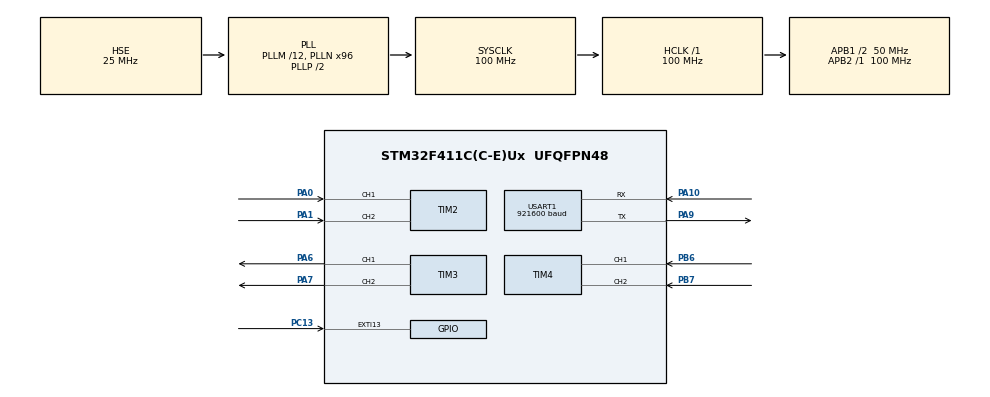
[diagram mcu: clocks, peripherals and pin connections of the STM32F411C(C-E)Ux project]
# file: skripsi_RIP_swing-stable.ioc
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Dma.Request0=USART1_TX
Dma.USART1_TX.0.Direction=DMA_MEMORY_TO_PERIPH
Dma.USART1_TX.0.FIFOMode=DMA_FIFOMODE_DISABLE
Dma.USART1_TX.0.Instance=DMA2_Stream7
Dma.USART1_TX.0.MemDataAlignment=DMA_MDATAALIGN_BYTE
Dma.USART1_TX.0.MemInc=DMA_MINC_ENABLE
Dma.USART1_TX.0.Mode=DMA_NORMAL
Dma.USART1_TX.0.PeriphDataAlignment=DMA_PDATAALIGN_BYTE
Dma.USART1_TX.0.PeriphInc=DMA_PINC_DISABLE
Dma.USART1_TX.0.Priority=DMA_PRIORITY_LOW
Mcu.Family=STM32F4
Mcu.Name=STM32F411C(C-E)Ux
Mcu.Package=UFQFPN48
NVIC.DMA2_Stream7_IRQn=true\:0\:0\:false\:false\:true\:false\:true\:true
NVIC.EXTI15_10_IRQn=true\:0\:0\:false\:false\:true\:true\:true\:true
NVIC.PriorityGroup=NVIC_PRIORITYGROUP_4
NVIC.TIM2_IRQn=true\:0\:0\:false\:false\:true\:true\:true\:true
NVIC.TIM4_IRQn=true\:0\:0\:false\:false\:true\:true\:true\:true
NVIC.USART1_IRQn=true\:0\:0\:false\:false\:true\:true\:true\:true
PA0-WKUP.Signal=S_TIM2_CH1_ETR
PA1.Signal=S_TIM2_CH2
PA10.Mode=Asynchronous
PA10.Signal=USART1_RX
PA6.Signal=S_TIM3_CH1
PA7.Signal=S_TIM3_CH2
PA9.Mode=Asynchronous
PA9.Signal=USART1_TX
PB6.Signal=S_TIM4_CH1
PB7.Signal=S_TIM4_CH2
PC13-ANTI_TAMP.GPIO_ModeDefaultEXTI=GPIO_MODE_IT_FALLING
PC13-ANTI_TAMP.GPIO_PuPd=GPIO_PULLUP
PC13-ANTI_TAMP.Signal=GPXTI13
PH0\ -\ OSC_IN.Mode=HSE-External-Oscillator
PH0\ -\ OSC_IN.Signal=RCC_OSC_IN
PH1\ -\ OSC_OUT.Mode=HSE-External-Oscillator
PH1\ -\ OSC_OUT.Signal=RCC_OSC_OUT
ProjectManager.HeapSize=0x200
ProjectManager.StackSize=0x400
ProjectManager.TargetToolchain=STM32CubeIDE
RCC.48MHZClocksFreq_Value=50000000
RCC.AHBFreq_Value=100000000
RCC.APB1CLKDivider=RCC_HCLK_DIV2
RCC.APB1Freq_Value=50000000
RCC.APB1TimFreq_Value=100000000
RCC.APB2Freq_Value=100000000
RCC.APB2TimFreq_Value=100000000
RCC.CortexFreq_Value=100000000
RCC.HCLKFreq_Value=100000000
RCC.HSE_VALUE=25000000
RCC.HSI_VALUE=16000000
RCC.LSE_VALUE=32768
RCC.PLLM=12
RCC.PLLN=96
RCC.PLLSourceVirtual=RCC_PLLSOURCE_HSE
RCC.SYSCLKFreq_VALUE=100000000
RCC.SYSCLKSource=RCC_SYSCLKSOURCE_PLLCLK
RCC.VCOOutputFreq_Value=200000000
SH.S_TIM2_CH1_ETR.0=TIM2_CH1,Encoder_Interface
SH.S_TIM2_CH2.0=TIM2_CH2,Encoder_Interface
SH.S_TIM3_CH1.0=TIM3_CH1,PWM Generation1 CH1
SH.S_TIM3_CH2.0=TIM3_CH2,PWM Generation2 CH2
SH.S_TIM4_CH1.0=TIM4_CH1,Encoder_Interface
SH.S_TIM4_CH2.0=TIM4_CH2,Encoder_Interface
TIM2.EncoderMode=TIM_ENCODERMODE_TI12
TIM2.IC1Filter=10
TIM2.IC2Filter=10
TIM3.Channel-PWM\ Generation1\ CH1=TIM_CHANNEL_1
TIM3.Channel-PWM\ Generation2\ CH2=TIM_CHANNEL_2
TIM4.EncoderMode=TIM_ENCODERMODE_TI12
TIM4.IC1Filter=10
TIM4.IC2Filter=10
USART1.BaudRate=921600
USART1.VirtualMode=VM_ASYNC
VP_TIM3_VS_ClockSourceINT.Mode=Internal
board=custom

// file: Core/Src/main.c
/* USER CODE BEGIN Header */
/**
 * RIP_swing stable
  ******************************************************************************
  * @file           : main.c
  * @brief          : Main program body
  ******************************************************************************
  * @attention
  *
  * Copyright (c) 2025 STMicroelectronics.
  * All rights reserved.
  *
  * This software is licensed under terms that can be found in the LICENSE file
  * in the root directory of this software component.
  * If no LICENSE file comes with this software, it is provided AS-IS.
  *
  ******************************************************************************
  */
/* USER CODE END Header */
#include "main.h"

/* USER CODE BEGIN Includes */
#include "math.h"
/* USER CODE END Includes */

/* USER CODE BEGIN PD */
#define pi 3.14159265358979323846
/* USER CODE END PD */

TIM_HandleTypeDef htim2;
TIM_HandleTypeDef htim3;
TIM_HandleTypeDef htim4;

UART_HandleTypeDef huart1;
DMA_HandleTypeDef hdma_usart1_tx;

/* USER CODE BEGIN PV */
int32_t printt;
int32_t printt_then = 0;
int32_t printt_then2 = 0;
int32_t counterValue_1 = 0;
int16_t counterValue_2 = 0;
int16_t cnt_trns = 0;

double ctrl_sgn_1;
double prev_ctrl_sgn_1 = 0;
int32_t ctrl_sgn_2;
int32_t ctrl_sgn_k;

float x1 = 0;
float x2 = 0;
float prev_x1 = -180;
float prev_x2 = 0;
float dx1, dx2, fdx1, fdx2, fdx1_then, fdx2_then;
float sp1 = 0;
float sp2 = 0;
double rad_angle_1 = 0;
double rad_angle_2 = 0;
double current_error_1 = 0;
double prev_error_1 = 0;
float current_error_2 = 0;
float prev_error_2 = 0;
float derivative = 0;
float integral_1 = 0;
float integral_2 = 0;
float drv_error_1, drv_error_2, itg_error_1, itg_error_2;
float fdrv_error_1, fdrv_error_2;
float fdrv_error_1_then, fdrv_error_2_then;

float drv_angle_1, drv_angle_2;
float fdrv_angle_1, fdrv_angle_2;
float fdrv_angle_1_then, fdrv_angle_2_then;
float prev_angle_1 = 0;
float prev_angle_2 = 0;
float momentum_angle = 0;

float Ts = 0.000064;

//float Kp_1 = 40000;
//float Ki_1 = 10000;
//float Kd_1 = 0;
//float Kp_2 = 22000;
//float Ki_2 = 12000;
//float Kd_2 = 9000;

float Kp_1 = 20000;
float Ki_1 = 5000;
float Kd_1 = 0;
float Kp_2 = 30000;
float Ki_2 = 7000;
float Kd_2 = 0;

int8_t mode = 0;
int8_t chg = 1;
int8_t a = 1;

volatile uint8_t tx_ready = 1;

char MSG[100];

/* USER CODE END PV */

void SystemClock_Config(void);
static void MX_GPIO_Init(void);
static void MX_DMA_Init(void);
static void MX_TIM2_Init(void);
static void MX_TIM3_Init(void);
static void MX_TIM4_Init(void);
static void MX_USART1_UART_Init(void);
/* USER CODE BEGIN PFP */
float wrap_angle_deg(float angle_deg, float rtt) {
    while (angle_deg > rtt) angle_deg -= 2.0f * rtt;
    while (angle_deg < (-1) * rtt) angle_deg += 2.0f * rtt;
    return angle_deg;
}

float filter(float now, float* filtered_then, float alpha) {
    float filtered = alpha * now + (1.0f - alpha) * (*filtered_then);
    *filtered_then = filtered;  // update the stored value
    return filtered;
}
float compute_derivative(float now, float then, float dt){
	float derivative = ((float)(now - then)) / dt;
	return derivative;
}

float compute_integral(float now, float then, float dt, float* integral_accum) {
    float avg_error = (now + then) / 2.0f;

    // Round off tiny noise
    if (fabs(avg_error) < 0.005f) {
        avg_error = 0.0f;
    }

    // Integrate only if error is significant
    if (avg_error != 0.0f) {
    	*integral_accum += dt * avg_error;
    }

    // Anti-windup clamp
    if (*integral_accum > 100.0f) *integral_accum = 100.0f;
	if (*integral_accum < -100.0f) *integral_accum = -100.0f;

	return *integral_accum;
}

void HAL_UART_TxCpltCallback(UART_HandleTypeDef *huart) {
    if (huart->Instance == USART1) {
        tx_ready = 1; // Allow next message to be sent
    }
}

void send_uart_dma() {
//	sprintf(MSG, "%.4f, %.4f, %.4f, %.4f, %.4f, %d\r\n", current_error_2, current_error_1, itg_error_2, itg_error_1, 90.0, ctrl_sgn_k);
//	sprintf(MSG, "%.4f, %.4f, %.4f, %.4f, %.4f, %d\r\n", rad_angle_1, rad_angle_2, itg_error_2, itg_error_1, 90.0, cnt_trns);
	sprintf(MSG, "%.4f, %.4f, %.4f, %.4f, %d\r\n", x2, x1, fdx2, fdx1, ctrl_sgn_k);
//	sprintf(MSG, "%.4f, %.4f\r\n", x2, 90.0);
//	sprintf(MSG, "%.4f, %.4f\r\n", x1, -180.0);
    HAL_UART_Transmit_DMA(&huart1, (uint8_t*)MSG, strlen(MSG));
}

void HAL_GPIO_EXTI_Callback(uint16_t GPIO_Pin)
{
  if (GPIO_Pin == GPIO_PIN_13)
  {
    HAL_Delay(50); // Debounce
    if (HAL_GPIO_ReadPin(GPIOC, GPIO_PIN_13) == GPIO_PIN_RESET)
    {
    	SCB->AIRCR = (0x5FA << SCB_AIRCR_VECTKEY_Pos) | SCB_AIRCR_SYSRESETREQ_Msk; // Full software reset
    }
  }
}

/* USER CODE END PFP */

int main(void)
{

  /* MCU Configuration--------------------------------------------------------*/

  /* Reset of all peripherals, Initializes the Flash interface and the Systick. */
  HAL_Init();

  /* Configure the system clock */
  SystemClock_Config();

  /* Initialize all configured peripherals */
  MX_GPIO_Init();
  MX_DMA_Init();
  MX_TIM2_Init();
  MX_TIM3_Init();
  MX_TIM4_Init();
  MX_USART1_UART_Init();
  /* USER CODE BEGIN 2 */
  HAL_TIM_Encoder_Start(&htim2, TIM_CHANNEL_ALL);
  HAL_TIM_PWM_Start(&htim3, TIM_CHANNEL_1);
  HAL_TIM_PWM_Start(&htim3, TIM_CHANNEL_2);
  HAL_TIM_Encoder_Start(&htim4, TIM_CHANNEL_ALL);
  HAL_Delay(500);
  TIM3->CCR1 = 16000;
  TIM3->CCR2 = 0;
  HAL_Delay(100);
  TIM3->CCR1 = 0;
  TIM3->CCR2 = 0;
  /* USER CODE END 2 */

  /* Infinite loop */
  /* USER CODE BEGIN WHILE */
  while (1)
  {
	  printt = HAL_GetTick();
	  counterValue_1 = (int32_t)(TIM2->CNT);
	  counterValue_2 = (int16_t)(TIM4->CNT);
	  x1 = (roundf(100 * counterValue_1 * 360.0 / 4000.0) / 100.0) - 180;
	  dx1 = compute_derivative(x1, prev_x1, Ts);
	  fdx1 = filter(dx1, &fdx1_then, 0.0005);
	  x2 = roundf(100 * counterValue_2 * 360.0 / 300.0)/100.0;
	  dx2 = compute_derivative(x2, prev_x2, Ts);
	  fdx2 = filter(dx2, &fdx2_then, 0.0005);
	  prev_x2 = x2;
	  prev_x1 = x1;
	  if(fabs(x2) > 540){
		  mode = 3;
	  }
	  switch(mode){
	  case 0:
		  rad_angle_1 = roundf(1000 * counterValue_1 * pi * 2.0 / 4000.0) / 1000.0;
		  rad_angle_1 = wrap_angle_deg(rad_angle_1, pi);
		  rad_angle_2 = roundf(1000 * counterValue_2 * pi * 2.0 / 300.0) / 1000.0;
		  current_error_1 = sp1 - rad_angle_1;
		  drv_error_1 = compute_derivative(current_error_1, prev_error_1, Ts);
		  fdrv_error_1 = filter(drv_error_1, &fdrv_error_1_then, 0.001);
		  itg_error_1 = compute_integral(current_error_1, prev_error_1, Ts, &integral_1);
		  ctrl_sgn_1 = Kp_1 * current_error_1 + Ki_1 * itg_error_1 + Kd_1 * drv_error_1;
		  current_error_2 = rad_angle_2;
		  drv_error_2 = compute_derivative(current_error_2, prev_error_2, Ts);
		  fdrv_error_2 = filter(drv_error_2, &fdrv_error_2_then, 0.001);
		  itg_error_2 = compute_integral(current_error_2, prev_error_2, Ts, &integral_2);
		  ctrl_sgn_2 = Kp_2 * current_error_2 + Ki_2 * itg_error_2 + Kd_2 * drv_error_2;
		  ctrl_sgn_k = ctrl_sgn_1 + ctrl_sgn_2;
		  if (ctrl_sgn_k > 50000) ctrl_sgn_k = 50000;
		  if (ctrl_sgn_k < -50000) ctrl_sgn_k = -50000;
		  if(ctrl_sgn_k >= 0){
			  TIM3->CCR1 = 0;
			  TIM3->CCR2 = ctrl_sgn_k; //CCW
		  }
		  if(ctrl_sgn_k <= 0){
			  TIM3->CCR1 = (-1) * ctrl_sgn_k; //CW
			  TIM3->CCR2 = 0;
		  }
		  if(rad_angle_1 <= -0.9 * pi || rad_angle_1 >= 0.9 * pi){
			  mode = 2;
			  if (rad_angle_1 >= 0.9 * pi){
		  		prev_angle_1 = -0.1 * pi;
		  		drv_angle_1 = pi;
		  		fdrv_angle_1_then = pi;
			  } else {
				prev_angle_1 = 0.1 * pi;
				drv_angle_1 = -pi;
				fdrv_angle_1_then = -pi;
			  }
			  fdrv_angle_2_then = 0;
			  prev_angle_2 = rad_angle_2;
		  }

		  prev_error_1 = current_error_1;
		  prev_ctrl_sgn_1 = ctrl_sgn_1;
		  prev_error_2 = current_error_2;
		  break;
	  case 1:
		  rad_angle_1 = roundf(1000 * counterValue_1 * pi * 2.0 / 4000.0) / 1000.0;
		  rad_angle_1 = wrap_angle_deg(rad_angle_1, pi);
		  rad_angle_2 = roundf(1000 * counterValue_2 * pi * 2.0 / 300.0) / 1000.0;
		  ctrl_sgn_k = 10000 * rad_angle_1 + 10000 * rad_angle_2;
		  if (ctrl_sgn_k > 50000) ctrl_sgn_k = 50000;
		  if (ctrl_sgn_k < -50000) ctrl_sgn_k = -50000;
		  if(ctrl_sgn_k >= 0){
			  TIM3->CCR1 = 0;
			  TIM3->CCR2 = ctrl_sgn_k; //CCW
		  }
		  if(ctrl_sgn_k <= 0){
			  TIM3->CCR1 = (-1) * ctrl_sgn_k; //CW
			  TIM3->CCR2 = 0;
		  }
		  if (fabs(rad_angle_1) <= 0.2){
			  cnt_trns++;
		  } else {
			  cnt_trns = 0;
		  }
		  if (cnt_trns >= 1000){
			  mode = 0;
			  prev_error_1 = 0;
			  prev_error_2 = 0;
			  itg_error_1 = 0;
			  itg_error_2 = 0;
			  integral_1 = 0;
			  integral_2 = 0;
			  ctrl_sgn_2 = 0;
			  ctrl_sgn_k = 0;
		  }
		  break;
	  case 2:
		  rad_angle_1 = (roundf(1000 * counterValue_1 * pi * 2.0 / 4000.0) / 1000.0) - pi;
		  rad_angle_1 = wrap_angle_deg(rad_angle_1, pi);
		  rad_angle_2 = roundf(1000 * counterValue_2 * pi * 2.0 / 300.0) / 1000.0;
		  drv_angle_1 = compute_derivative(rad_angle_1, prev_angle_1, Ts);
		  fdrv_angle_1 = filter(drv_angle_1, &fdrv_angle_1_then, 0.0012);
		  drv_angle_2 = compute_derivative(rad_angle_2, prev_angle_2, Ts);
		  fdrv_angle_2 = filter(drv_angle_2, &fdrv_angle_2_then, 0.0012);
		  ctrl_sgn_k = 100000 * ((0.1412)* (rad_angle_2) + (1.8605)* rad_angle_1 + (0.0781)* fdrv_angle_2 + (0.2341)* fdrv_angle_1);
		  if (ctrl_sgn_k > 70000) ctrl_sgn_k = 70000;
		  if (ctrl_sgn_k < -70000) ctrl_sgn_k = -70000;
		  if(ctrl_sgn_k >= 0){
			  TIM3->CCR1 = ctrl_sgn_k;
			  TIM3->CCR2 = 0; //CCW
		  }
		  if(ctrl_sgn_k <= 0){
			  TIM3->CCR1 = 0; //CW
			  TIM3->CCR2 = (-1) * ctrl_sgn_k;
		  }
		  if(fabs(rad_angle_1) > 0.3 * pi){
		  		  mode = 1;
		  }
		  prev_angle_1 = rad_angle_1;
		  prev_angle_2 = rad_angle_2;
		  break;

	  case 3:
		  TIM3->CCR1 = 0;
		  TIM3->CCR2 = 0;
		  x1 = 0;
		  x2 = 0;
		  fdx1 = 0;
		  fdx2 = 0;
		  itg_error_1 = 0;
		  itg_error_2 = 0;
		  ctrl_sgn_2 = 0;
		  ctrl_sgn_k = 0;
		  break;
	  }
	  printt_then = printt;
	  if (printt - printt_then2 > 5){
//		  if (printt < 20000){
			  if (tx_ready) {
				  send_uart_dma();
				  tx_ready = 0;
//			  }
		  } else {

		  }
		  printt_then2 = printt;
	  }

    /* USER CODE END WHILE */

  }
}

void SystemClock_Config(void)
{
  RCC_OscInitTypeDef RCC_OscInitStruct = {0};
  RCC_ClkInitTypeDef RCC_ClkInitStruct = {0};

  /** Configure the main internal regulator output voltage
  */
  __HAL_RCC_PWR_CLK_ENABLE();
  __HAL_PWR_VOLTAGESCALING_CONFIG(PWR_REGULATOR_VOLTAGE_SCALE1);

  /** Initializes the RCC Oscillators according to the specified parameters
  * in the RCC_OscInitTypeDef structure.
  */
  RCC_OscInitStruct.OscillatorType = RCC_OSCILLATORTYPE_HSE;
  RCC_OscInitStruct.HSEState = RCC_HSE_ON;
  RCC_OscInitStruct.PLL.PLLState = RCC_PLL_ON;
  RCC_OscInitStruct.PLL.PLLSource = RCC_PLLSOURCE_HSE;
  RCC_OscInitStruct.PLL.PLLM = 12;
  RCC_OscInitStruct.PLL.PLLN = 96;
  RCC_OscInitStruct.PLL.PLLP = RCC_PLLP_DIV2;
  RCC_OscInitStruct.PLL.PLLQ = 4;
  if (HAL_RCC_OscConfig(&RCC_OscInitStruct) != HAL_OK)
  {
    Error_Handler();
  }

  /** Initializes the CPU, AHB and APB buses clocks
  */
  RCC_ClkInitStruct.ClockType = RCC_CLOCKTYPE_HCLK|RCC_CLOCKTYPE_SYSCLK
                              |RCC_CLOCKTYPE_PCLK1|RCC_CLOCKTYPE_PCLK2;
  RCC_ClkInitStruct.SYSCLKSource = RCC_SYSCLKSOURCE_PLLCLK;
  RCC_ClkInitStruct.AHBCLKDivider = RCC_SYSCLK_DIV1;
  RCC_ClkInitStruct.APB1CLKDivider = RCC_HCLK_DIV2;
  RCC_ClkInitStruct.APB2CLKDivider = RCC_HCLK_DIV1;

  if (HAL_RCC_ClockConfig(&RCC_ClkInitStruct, FLASH_LATENCY_3) != HAL_OK)
  {
    Error_Handler();
  }
}

static void MX_TIM2_Init(void)
{

  TIM_Encoder_InitTypeDef sConfig = {0};
  TIM_MasterConfigTypeDef sMasterConfig = {0};

  htim2.Instance = TIM2;
  htim2.Init.Prescaler = 0;
  htim2.Init.CounterMode = TIM_COUNTERMODE_UP;
  htim2.Init.Period = 4294967295;
  htim2.Init.ClockDivision = TIM_CLOCKDIVISION_DIV1;
  htim2.Init.AutoReloadPreload = TIM_AUTORELOAD_PRELOAD_DISABLE;
  sConfig.EncoderMode = TIM_ENCODERMODE_TI12;
  sConfig.IC1Polarity = TIM_ICPOLARITY_RISING;
  sConfig.IC1Selection = TIM_ICSELECTION_DIRECTTI;
  sConfig.IC1Prescaler = TIM_ICPSC_DIV1;
  sConfig.IC1Filter = 10;
  sConfig.IC2Polarity = TIM_ICPOLARITY_RISING;
  sConfig.IC2Selection = TIM_ICSELECTION_DIRECTTI;
  sConfig.IC2Prescaler = TIM_ICPSC_DIV1;
  sConfig.IC2Filter = 10;
  if (HAL_TIM_Encoder_Init(&htim2, &sConfig) != HAL_OK)
  {
    Error_Handler();
  }
  sMasterConfig.MasterOutputTrigger = TIM_TRGO_RESET;
  sMasterConfig.MasterSlaveMode = TIM_MASTERSLAVEMODE_DISABLE;
  if (HAL_TIMEx_MasterConfigSynchronization(&htim2, &sMasterConfig) != HAL_OK)
  {
    Error_Handler();
  }

}

static void MX_TIM3_Init(void)
{

  TIM_ClockConfigTypeDef sClockSourceConfig = {0};
  TIM_MasterConfigTypeDef sMasterConfig = {0};
  TIM_OC_InitTypeDef sConfigOC = {0};

  htim3.Instance = TIM3;
  htim3.Init.Prescaler = 0;
  htim3.Init.CounterMode = TIM_COUNTERMODE_UP;
  htim3.Init.Period = 65535;
  htim3.Init.ClockDivision = TIM_CLOCKDIVISION_DIV1;
  htim3.Init.AutoReloadPreload = TIM_AUTORELOAD_PRELOAD_DISABLE;
  if (HAL_TIM_Base_Init(&htim3) != HAL_OK)
  {
    Error_Handler();
  }
  sClockSourceConfig.ClockSource = TIM_CLOCKSOURCE_INTERNAL;
  if (HAL_TIM_ConfigClockSource(&htim3, &sClockSourceConfig) != HAL_OK)
  {
    Error_Handler();
  }
  if (HAL_TIM_PWM_Init(&htim3) != HAL_OK)
  {
    Error_Handler();
  }
  sMasterConfig.MasterOutputTrigger = TIM_TRGO_RESET;
  sMasterConfig.MasterSlaveMode = TIM_MASTERSLAVEMODE_DISABLE;
  if (HAL_TIMEx_MasterConfigSynchronization(&htim3, &sMasterConfig) != HAL_OK)
  {
    Error_Handler();
  }
  sConfigOC.OCMode = TIM_OCMODE_PWM1;
  sConfigOC.Pulse = 0;
  sConfigOC.OCPolarity = TIM_OCPOLARITY_HIGH;
  sConfigOC.OCFastMode = TIM_OCFAST_DISABLE;
  if (HAL_TIM_PWM_ConfigChannel(&htim3, &sConfigOC, TIM_CHANNEL_1) != HAL_OK)
  {
    Error_Handler();
  }
  if (HAL_TIM_PWM_ConfigChannel(&htim3, &sConfigOC, TIM_CHANNEL_2) != HAL_OK)
  {
    Error_Handler();
  }
  HAL_TIM_MspPostInit(&htim3);

}

static void MX_TIM4_Init(void)
{

  TIM_Encoder_InitTypeDef sConfig = {0};
  TIM_MasterConfigTypeDef sMasterConfig = {0};

  htim4.Instance = TIM4;
  htim4.Init.Prescaler = 0;
  htim4.Init.CounterMode = TIM_COUNTERMODE_UP;
  htim4.Init.Period = 65535;
  htim4.Init.ClockDivision = TIM_CLOCKDIVISION_DIV1;
  htim4.Init.AutoReloadPreload = TIM_AUTORELOAD_PRELOAD_DISABLE;
  sConfig.EncoderMode = TIM_ENCODERMODE_TI12;
  sConfig.IC1Polarity = TIM_ICPOLARITY_RISING;
  sConfig.IC1Selection = TIM_ICSELECTION_DIRECTTI;
  sConfig.IC1Prescaler = TIM_ICPSC_DIV1;
  sConfig.IC1Filter = 10;
  sConfig.IC2Polarity = TIM_ICPOLARITY_RISING;
  sConfig.IC2Selection = TIM_ICSELECTION_DIRECTTI;
  sConfig.IC2Prescaler = TIM_ICPSC_DIV1;
  sConfig.IC2Filter = 10;
  if (HAL_TIM_Encoder_Init(&htim4, &sConfig) != HAL_OK)
  {
    Error_Handler();
  }
  sMasterConfig.MasterOutputTrigger = TIM_TRGO_RESET;
  sMasterConfig.MasterSlaveMode = TIM_MASTERSLAVEMODE_DISABLE;
  if (HAL_TIMEx_MasterConfigSynchronization(&htim4, &sMasterConfig) != HAL_OK)
  {
    Error_Handler();
  }

}

static void MX_USART1_UART_Init(void)
{

  huart1.Instance = USART1;
  huart1.Init.BaudRate = 921600;
  huart1.Init.WordLength = UART_WORDLENGTH_8B;
  huart1.Init.StopBits = UART_STOPBITS_1;
  huart1.Init.Parity = UART_PARITY_NONE;
  huart1.Init.Mode = UART_MODE_TX_RX;
  huart1.Init.HwFlowCtl = UART_HWCONTROL_NONE;
  huart1.Init.OverSampling = UART_OVERSAMPLING_16;
  if (HAL_UART_Init(&huart1) != HAL_OK)
  {
    Error_Handler();
  }

}

static void MX_DMA_Init(void)
{

  /* DMA controller clock enable */
  __HAL_RCC_DMA2_CLK_ENABLE();

  /* DMA interrupt init */
  /* DMA2_Stream7_IRQn interrupt configuration */
  HAL_NVIC_SetPriority(DMA2_Stream7_IRQn, 0, 0);
  HAL_NVIC_EnableIRQ(DMA2_Stream7_IRQn);

}

static void MX_GPIO_Init(void)
{
  GPIO_InitTypeDef GPIO_InitStruct = {0};

  /* GPIO Ports Clock Enable */
  __HAL_RCC_GPIOC_CLK_ENABLE();
  __HAL_RCC_GPIOH_CLK_ENABLE();
  __HAL_RCC_GPIOA_CLK_ENABLE();
  __HAL_RCC_GPIOB_CLK_ENABLE();

  /*Configure GPIO pin : PC13 */
  GPIO_InitStruct.Pin = GPIO_PIN_13;
  GPIO_InitStruct.Mode = GPIO_MODE_IT_FALLING;
  GPIO_InitStruct.Pull = GPIO_PULLUP;
  HAL_GPIO_Init(GPIOC, &GPIO_InitStruct);

  /* EXTI interrupt init*/
  HAL_NVIC_SetPriority(EXTI15_10_IRQn, 0, 0);
  HAL_NVIC_EnableIRQ(EXTI15_10_IRQn);

}

void Error_Handler(void)
{
  __disable_irq();
  while (1)
  {
  }
}
